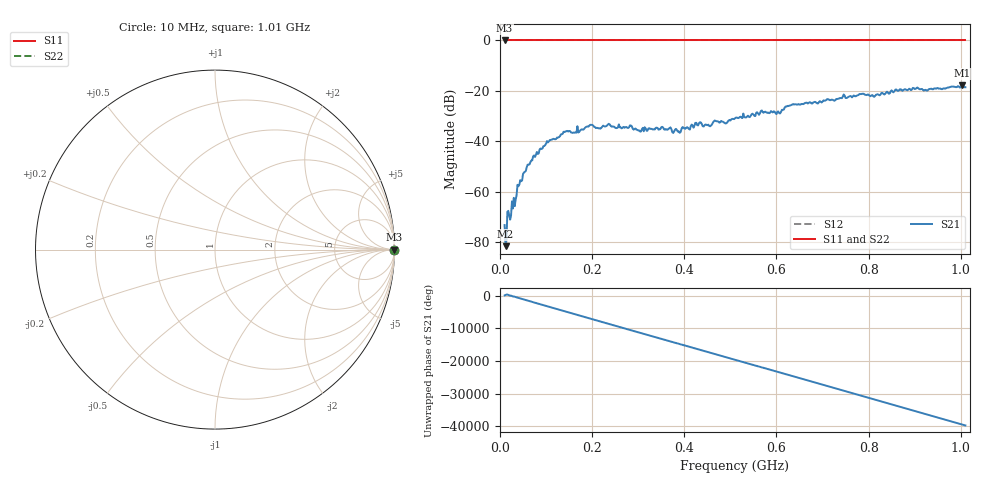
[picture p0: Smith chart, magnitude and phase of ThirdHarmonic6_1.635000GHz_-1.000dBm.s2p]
! 8/16/2025 7:33:11 PM
! C:\ANRITSUVNA\TEMP\TEMP.S2P
! CHANNEL.1
! TR.MEASUREMENT
! RAW.DATA
! RF.CORRECTION.OFF
! AVERAGING.OFF
! IF.BANDWIDTH: 5KHZ
! SWEEPTYPE:  FREQ.SWEEP(Linear)
! Reference Plane Port Info
! PORT:  PORT1  PORT2
! DISTANCE:  0  m  0  m
! TIME:  0  s  0  s
! PHASE.OFFSET:  0  deg.  0  deg.
! LOSS:  0  dB  0  dB
! REF.LOSS:  0  dB  0  dB
! REF.FREQ:  0  Hz  0  Hz
! Power Info
! POWER:  -20  dBm  -20  dBm
! EFF.POWER:  -20  dBm  -20  dBm
! SOURCE.ATTEN:  0  dB  0  dB
! TEST.ATTEN:  0  dB  0  dB
# GHZ S RI R 50.0
! FREQ.GHZ  S11RE  S11IM  S21RE  S21IM  S12RE  S12IM  S22RE  S22IM
!; PortSelection: Port_12
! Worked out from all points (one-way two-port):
!   501 points, 10 MHz to 1.01 GHz, reference 50 ohm
!   highest |S21| = -17.84 dB at 1.002 GHz (marker M1); lowest = -81.7 dB at 12 MHz (marker M2)
!   lowest |S11| = 0.0 dB at 10 MHz (marker M3)
!   |S11| at or under -10 dB: nowhere
!   |S22| runs from 0.0 to 0.0 dB; largest |S21 - S12| = 1.1
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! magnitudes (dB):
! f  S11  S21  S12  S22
! 10 MHz  0.0  -73.3  0.0  0.0
! 12 MHz  0.0  -81.7  0.0  0.0
! 42 MHz  0.0  -57.2  0.0  0.0
! 76 MHz  0.0  -46.2  0.0  0.0
! 106 MHz  0.0  -40.1  0.0  0.0
! 142 MHz  0.0  -36.2  0.0  0.0
! 178 MHz  0.0  -35.3  0.0  0.0
! 198 MHz  0.0  -33.5  0.0  0.0
! 236 MHz  0.0  -33.1  0.0  0.0
! 302 MHz  0.0  -35.7  0.0  0.0
! 344 MHz  0.0  -35.4  0.0  0.0
! 388 MHz  0.0  -36.1  0.0  0.0
! 428 MHz  0.0  -33.6  0.0  0.0
! 454 MHz  0.0  -33.9  0.0  0.0
! 510 MHz  0.0  -30.9  0.0  0.0
! 570 MHz  0.0  -28.4  0.0  0.0
! 604 MHz  0.0  -28.2  0.0  0.0
! 632 MHz  0.0  -25.6  0.0  0.0
! 678 MHz  0.0  -25.0  0.0  0.0
! 844 MHz  0.0  -21.2  0.0  0.0
! 1.002 GHz  0.0  -17.8  0.0  0.0
! 1.01 GHz  0.0  -18.6  0.0  0.0
